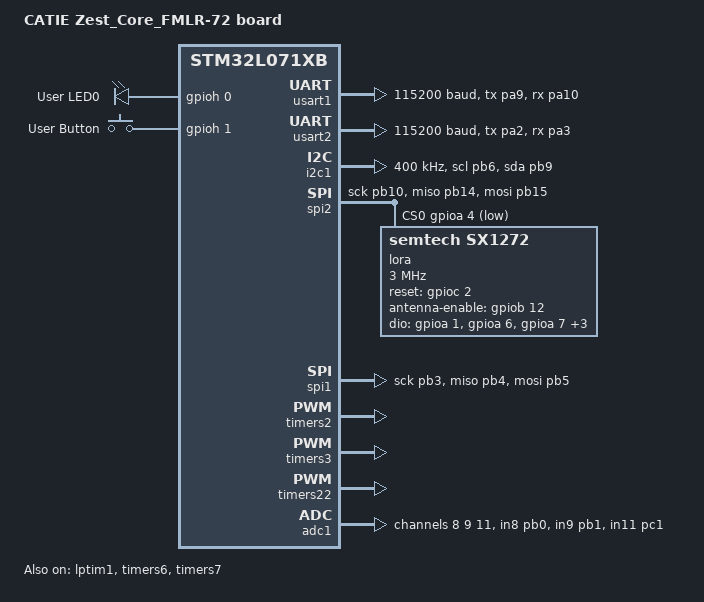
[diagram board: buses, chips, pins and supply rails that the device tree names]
/*
 * Copyright (c) 2024 CATIE
 *
 * SPDX-License-Identifier: Apache-2.0
 */

/dts-v1/;
#include <st/l0/stm32l071Xb.dtsi>
#include <st/l0/stm32l071r(b-z)tx-pinctrl.dtsi>
#include <zephyr/dt-bindings/input/input-event-codes.h>
#include "sixtron_connector.dtsi"

/ {
	model = "CATIE Zest_Core_FMLR-72 board";
	compatible = "catie,zest-core-fmlr-72";

	chosen {
		zephyr,console = &usart2;
		zephyr,shell-uart = &usart2;
		zephyr,sram = &sram0;
		zephyr,flash = &flash0;
	};

	leds {
		compatible = "gpio-leds";
		led_0: led_0 {
			gpios = <&gpioh 0 GPIO_ACTIVE_HIGH>;
			label = "User LED0";
		};
	};

	gpio_keys {
		compatible = "gpio-keys";
		user_button: button {
			label = "User Button";
			gpios = <&gpioh 1 GPIO_ACTIVE_HIGH>;
			zephyr,code = <INPUT_BTN_0>;
		};
	};

	aliases {
		led0 = &led_0;
		sw0 = &user_button;
		lora0 = &lora;
		eeprom-0 = &eeprom;
	};
};

&clk_hsi {
	status = "okay";
};

&pll {
	div = <3>;
	mul = <6>;
	clocks = <&clk_hsi>;
	status = "okay";
};

&rcc {
	clocks = <&pll>;
	clock-frequency = <DT_FREQ_M(32)>;
	ahb-prescaler = <1>;
	apb1-prescaler = <1>;
	apb2-prescaler = <1>;
};

&usart1 {
	pinctrl-0 = <&usart1_tx_pa9 &usart1_rx_pa10>;
	pinctrl-names = "default";
	current-speed = <115200>;
	status = "okay";
};

&usart2 {
	pinctrl-0 = <&usart2_tx_pa2 &usart2_rx_pa3>;
	pinctrl-names = "default";
	current-speed = <115200>;
	status = "okay";
};

&i2c1 {
	pinctrl-0 = <&i2c1_scl_pb6 &i2c1_sda_pb9>;
	pinctrl-names = "default";
	status = "okay";
	clock-frequency = <I2C_BITRATE_FAST>;
};

&spi2 {
	pinctrl-0 = <&spi2_sck_pb10 &spi2_miso_pb14 &spi2_mosi_pb15>;
	pinctrl-names = "default";
	cs-gpios = <&gpioa 4 GPIO_ACTIVE_LOW>;
	status = "okay";
	lora: sx1272@0 {
		compatible = "semtech,sx1272";
		reg = <0x0>;
		reset-gpios = <&gpioc 2 GPIO_ACTIVE_HIGH>;
		antenna-enable-gpios = <&gpiob 12 GPIO_ACTIVE_HIGH>;
		dio-gpios = <&gpioa 1 (GPIO_PULL_DOWN | GPIO_ACTIVE_HIGH)>,
			    <&gpioa 6 (GPIO_PULL_DOWN | GPIO_ACTIVE_HIGH)>,
			    <&gpioa 7 (GPIO_PULL_DOWN | GPIO_ACTIVE_HIGH)>,
			    <&gpioc 4 (GPIO_PULL_DOWN | GPIO_ACTIVE_HIGH)>,
			    <&gpioc 5 (GPIO_PULL_DOWN | GPIO_ACTIVE_HIGH)>,
			    <&gpiob 11 (GPIO_PULL_DOWN | GPIO_ACTIVE_HIGH)>;
		spi-max-frequency = <DT_FREQ_M(3)>;
		power-amplifier-output = "rfo";
	};
};

&spi1 {
	pinctrl-0 = <&spi1_sck_pb3 &spi1_miso_pb4 &spi1_mosi_pb5>;
	pinctrl-names = "default";
	cs-gpios = <&gpiob 2 GPIO_ACTIVE_LOW>;
	status = "okay";
};

stm32_lp_tick_source: &lptim1 {
	/*
	 * LSI freq is 37KHz but stm32_lptim driver is using 32000Hz
	 * resulting in time running 1.13 faster than reality
	 */
	clocks = <&rcc STM32_CLOCK_BUS_APB1 0x80000000>,
		 <&rcc STM32_SRC_LSI LPTIM1_SEL(1)>;
	status = "okay";
};

&timers2 {
	status = "okay";
	st,prescaler = <0>;

	pwm2: pwm {
		pinctrl-0 = <&tim2_ch1_pa0>;
		pinctrl-names = "default";
		status = "okay";
	};
};

&timers3 {
	status = "okay";
	st,prescaler = <0>;

	pwm3: pwm {
		pinctrl-0 = <&tim3_ch1_pc6>;
		pinctrl-names = "default";
		status = "okay";
	};
};

&timers6 {
	status = "okay";
};

&timers7 {
	status = "okay";
};

&timers22 {
	status = "okay";
	st,prescaler = <0>;

	pwm22: pwm {
		pinctrl-0 = <&tim22_ch2_pc7>;
		pinctrl-names = "default";
		status = "okay";
	};
};

&adc1 {
	pinctrl-0 = <&adc_in8_pb0 &adc_in9_pb1 &adc_in11_pc1>;
	pinctrl-names = "default";
	st,adc-clock-source = "SYNC";
	st,adc-prescaler = <4>;
	status = "okay";

	#address-cells = <1>;
	#size-cells = <0>;

	channel@8 {
		reg = <8>;
		zephyr,gain = "ADC_GAIN_1";
		zephyr,reference = "ADC_REF_INTERNAL";
		zephyr,acquisition-time = <ADC_ACQ_TIME_DEFAULT>;
		zephyr,resolution = <12>;
	};

	channel@9 {
		reg = <9>;
		zephyr,gain = "ADC_GAIN_1";
		zephyr,reference = "ADC_REF_INTERNAL";
		zephyr,acquisition-time = <ADC_ACQ_TIME_DEFAULT>;
		zephyr,resolution = <12>;
	};

	channel@11 {
		reg = <11>;
		zephyr,gain = "ADC_GAIN_1";
		zephyr,reference = "ADC_REF_INTERNAL";
		zephyr,acquisition-time = <ADC_ACQ_TIME_DEFAULT>;
		zephyr,resolution = <12>;
	};
};
